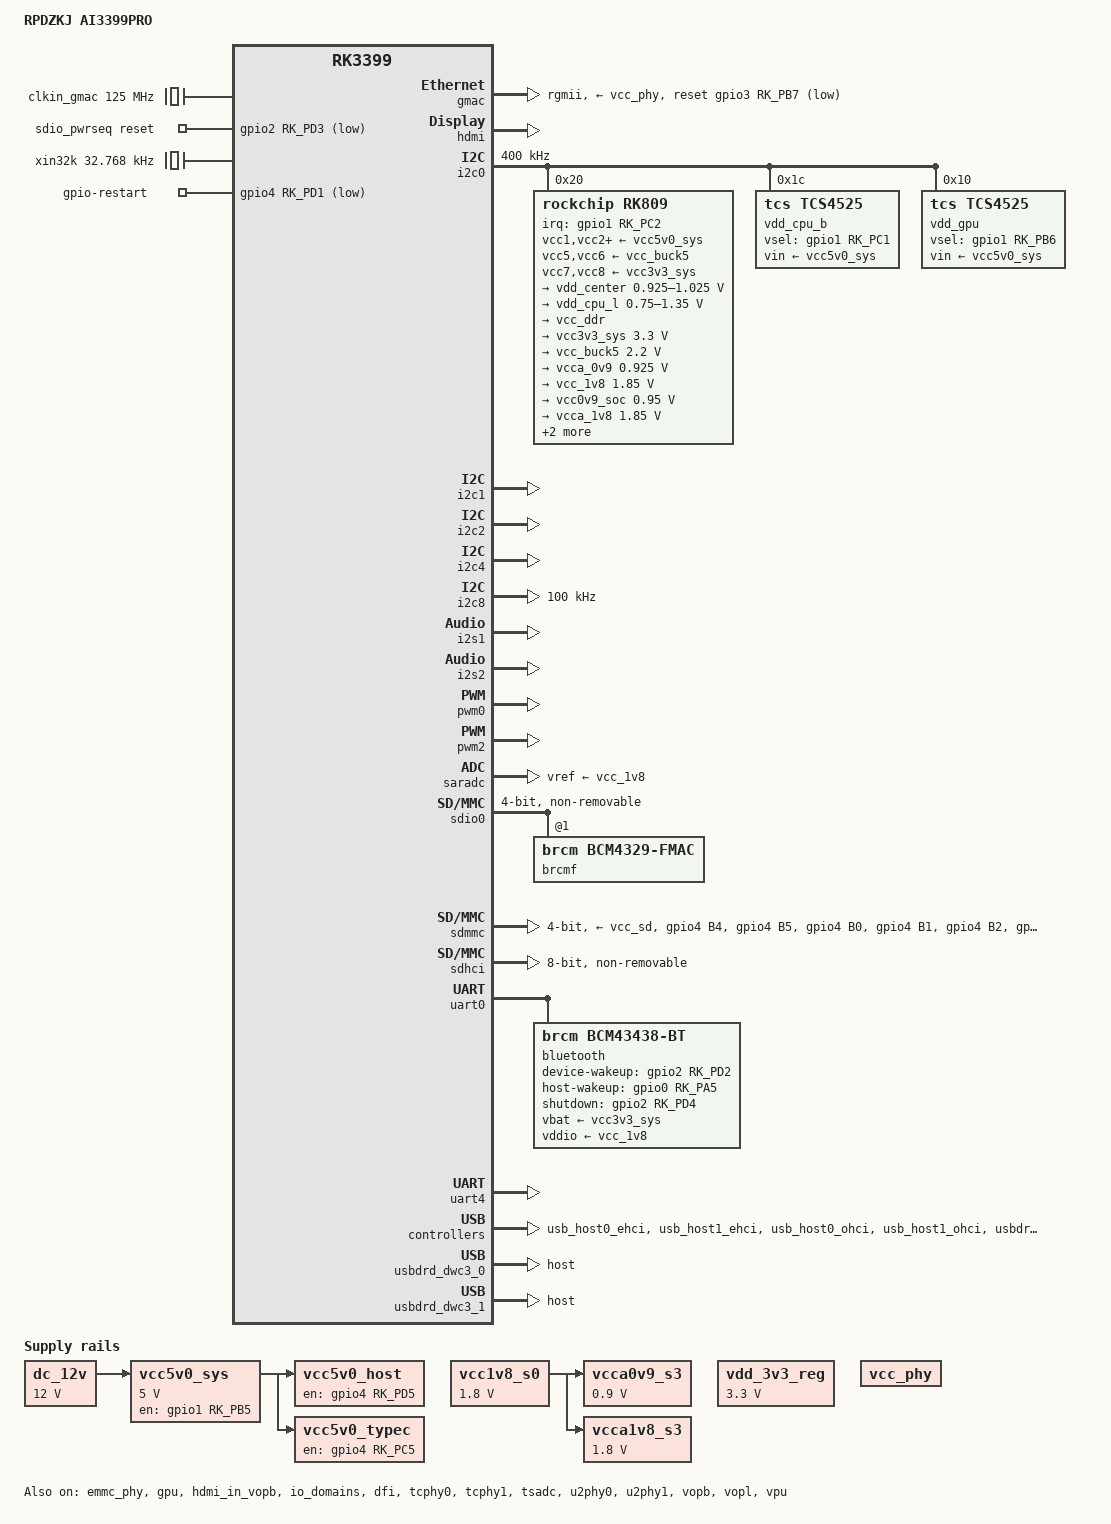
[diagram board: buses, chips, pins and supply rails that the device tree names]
// SPDX-License-Identifier: (GPL-2.0+ OR MIT)
/*
 * Copyright (c) 2019 Fuzhou Rockchip Electronics Co., Ltd
 * Copyright (c) 2019 Radxa Limited
 * Copyright (c) 2019 Amarula Solutions(India)
 * Copyright (c) 2024 ARCW <wmx129674@126.com> rk3399pro-tinker_edge_r
 */

/dts-v1/;
#include <dt-bindings/input/linux-event-codes.h>
#include <dt-bindings/pwm/pwm.h>
#include "rk3399.dtsi"

/ {
	model = "RPDZKJ AI3399PRO";
	compatible = "rpdzkj,ai3399pro", "rockchip,rk3399pro";

	chosen {
    bootargs = "earlycon=uart8250,mmio32,0xff1a0000 swiotlb=1 coherent_pool=1m";
	};

	clkin_gmac: external-gmac-clock {
		compatible = "fixed-clock";
		clock-frequency = <125000000>;
		clock-output-names = "clkin_gmac";
		#clock-cells = <0>;
	};

/*
	gpio-leds {
		compatible = "gpio-leds";

		act-led {
			label = "led-activity";
			gpios = <&gpio0 RK_PA5 GPIO_ACTIVE_HIGH>;
			linux,default-trigger = "activity";
			retain-state-suspended = <1>;
		};

		eth-led {
			label = "led-eth";
			default-state = "off";
			gpios = <&gpio0 RK_PA3 GPIO_ACTIVE_HIGH>;
			linux,default-trigger="netdev";
		};

		oneshot-led {
			label = "led-oneshot";
			gpios = <&gpio0 RK_PB1 GPIO_ACTIVE_HIGH>;
			linux,default-trigger="oneshot";
		};

	};
*/
	sdio_pwrseq: sdio-pwrseq {
		compatible = "mmc-pwrseq-simple";
		clocks = <&rk809 1>;
		clock-names = "ext_clock";
		pinctrl-names = "default";
		pinctrl-0 = <&wifi_enable_h>;

		/*
		 * On the module itself this is one of these (depending
		 * on the actual card populated):
		 * - SDIO_RESET_L_WL_REG_ON
		 * - PDN (power down when low)
		 */
		reset-gpios = <&gpio2 RK_PD3 GPIO_ACTIVE_LOW>;
	};

	display-subsystem{
		status = "okay";
	};
  
  dc_12v: dc-12v {
    compatible = "regulator-fixed";
    regulator-name = "dc_12v";
    regulator-always-on;
    regulator-boot-on;
    regulator-min-microvolt = <12000000>;
    regulator-max-microvolt = <12000000>;
    };

	vcc1v8_s0: vcc1v8-s0 {
		compatible = "regulator-fixed";
		regulator-name = "vcc1v8_s0";
		regulator-min-microvolt = <1800000>;
		regulator-max-microvolt = <1800000>;
		regulator-always-on;
	};

	vdd_3v3_reg: fixedregulator_3v3 {
		compatible = "regulator-fixed";
		regulator-name = "3v3";
		regulator-min-microvolt = <3300000>;
		regulator-max-microvolt = <3300000>;
		regulator-always-on;
	};

	vcc_phy: vcc-phy-regulator {
		compatible = "regulator-fixed";
		regulator-name = "vcc_phy";
		regulator-always-on;
		regulator-boot-on;
	};

	vcc5v0_sys: vccsys {
		compatible = "regulator-fixed";
		regulator-name = "vcc5v0_sys";
		enable-active-high;
		gpio = <&gpio1 RK_PB5 GPIO_ACTIVE_HIGH>;
		pinctrl-names = "default";
		pinctrl-0 = <&vcc5v0_en>;
		regulator-always-on;
		regulator-boot-on;
		regulator-min-microvolt = <5000000>;
		regulator-max-microvolt = <5000000>;
    vin-supply = <&dc_12v>;
	};

	vcc5v0_host: vcc5v0-host {
		compatible = "regulator-fixed";
		enable-active-high;
		gpio = <&gpio4 RK_PD5 GPIO_ACTIVE_HIGH>;
		pinctrl-names = "default";
		pinctrl-0 = <&vcc5v0_host_en>;
		regulator-name = "vcc5v0_host";
		vin-supply = <&vcc5v0_sys>;
	};

	vcc5v0_typec: vcc5v0-typec {
		compatible = "regulator-fixed";
		enable-active-high;
		gpio = <&gpio4 RK_PC5 GPIO_ACTIVE_HIGH>;
		pinctrl-names = "default";
		pinctrl-0 = <&vcc5v0_typec_en>;
		regulator-name = "vcc5v0_typec";
		regulator-always-on;
		vin-supply = <&vcc5v0_sys>;
	};

	vcca0v9_s3: vcca0v9-s3 {
		compatible = "regulator-fixed";
		regulator-min-microvolt = <900000>;
		regulator-max-microvolt = <900000>;
		regulator-name = "vcca0v9_s3";
		vin-supply = <&vcc1v8_s0>;
	};

	/* As above, actually supplied by vcc3v3_sys */
	vcca1v8_s3: vcca1v8-s3 {
		compatible = "regulator-fixed";
		regulator-min-microvolt = <1800000>;
		regulator-max-microvolt = <1800000>;
		regulator-name = "vcca1v8_s3";
		vin-supply = <&vcc1v8_s0>;
	};
  
  xin32k: xin32k {
		compatible = "fixed-clock";
		clock-frequency = <32768>;
		clock-output-names = "xin32k";
		#clock-cells = <0>;
	};
  
  gpio-restart {
		compatible = "gpio-restart";
		gpios = <&gpio4 RK_PD1 GPIO_ACTIVE_LOW>;
		pinctrl-names = "default";
		pinctrl-0 = <&hub_rst>;
		priority = <200>;
		active-delay = <100>;
		inactive-delay = <10>;
		wait-delay = <100>;
	};
};

&cpu_l0 {
	cpu-supply = <&vdd_cpu_l>;
};

&cpu_l1 {
	cpu-supply = <&vdd_cpu_l>;
};

&cpu_l2 {
	cpu-supply = <&vdd_cpu_l>;
};

&cpu_l3 {
	cpu-supply = <&vdd_cpu_l>;
};

&cpu_b0 {
	cpu-supply = <&vdd_cpu_b>;
};

&cpu_b1 {
	cpu-supply = <&vdd_cpu_b>;
};

&emmc_phy {
	status = "okay";
};

&gmac {
	assigned-clocks = <&cru SCLK_RMII_SRC>;
	assigned-clock-parents = <&clkin_gmac>;
	clock_in_out = "input";
	phy-supply = <&vcc_phy>;
	phy-mode = "rgmii";
	snps,reset-gpio = <&gpio3 RK_PB7 GPIO_ACTIVE_LOW>;
	snps,reset-active-low;
	snps,reset-delays-us = <0 10000 50000>;
	pinctrl-names = "default";
	pinctrl-0 = <&rgmii_pins>;
	tx_delay = <0x28>;
	rx_delay = <0x11>;
  status = "okay";
};

&gpu {
	mali-supply = <&vdd_gpu>;
	status = "okay";
};

&hdmi {
	/* remove the hdmi_i2c_xfer */
	status = "okay";
	ddc-i2c-bus = <&i2c3>;
	pinctrl-0 = <&hdmi_cec>;
	#sound-dai-cells = <0>;
};

&hdmi_in_vopb {
	status = "okay";
};

&hdmi_in_vopl {
	status = "disabled";
};

&hdmi_sound {
        status = "disabled";
};

&i2c0 {
	status = "okay";
  i2c-scl-rising-time-ns = <180>;
	i2c-scl-falling-time-ns = <30>;
	clock-frequency = <400000>;

	rk809: pmic@20 {
		compatible = "rockchip,rk809";
		reg = <0x20>;
		interrupt-parent = <&gpio1>;
		interrupts = <RK_PC2 IRQ_TYPE_LEVEL_LOW>;
		pinctrl-names = "default", "pmic-sleep",
				"pmic-power-off", "pmic-reset";
		pinctrl-0 = <&pmic_int_l>;
		pinctrl-1 = <&soc_slppin_slp>, <&rk809_slppin_slp>;
		pinctrl-2 = <&soc_slppin_pins>, <&rk809_slppin_pwrdn>;
		pinctrl-3 = <&soc_slppin_pins>, <&rk809_slppin_null>;
		system-power-controller;
		pmic-reset-func = <0>;
		wakeup-source;
		#clock-cells = <1>;
		clock-output-names = "rk808-clkout1", "rk808-clkout2";

		vcc1-supply = <&vcc5v0_sys>;
		vcc2-supply = <&vcc5v0_sys>;
		vcc3-supply = <&vcc5v0_sys>;
		vcc4-supply = <&vcc5v0_sys>;
		vcc5-supply = <&vcc_buck5>;
		vcc6-supply = <&vcc_buck5>;
		vcc7-supply = <&vcc3v3_sys>;
		vcc8-supply = <&vcc3v3_sys>;
		vcc9-supply = <&vcc5v0_sys>;
    
    pinctrl_rk8xx: pinctrl_rk8xx {
			gpio-controller;
			#gpio-cells = <2>;

			rk809_slppin_null: rk809_slppin_null {
				pins = "gpio_slp";
				function = "pin_fun0";
			};

			rk809_slppin_slp: rk809_slppin_slp {
				pins = "gpio_slp";
				function = "pin_fun1";
			};

			rk809_slppin_pwrdn: rk809_slppin_pwrdn {
				pins = "gpio_slp";
				function = "pin_fun2";
			};

			rk809_slppin_rst: rk809_slppin_rst {
				pins = "gpio_slp";
				function = "pin_fun3";
			};
		};

		regulators {
			vdd_center: DCDC_REG1 {
				regulator-name = "vdd_center";
				regulator-always-on;
				regulator-boot-on;
				regulator-min-microvolt = <925000>;
				regulator-max-microvolt = <1025000>;
				regulator-initial-mode = <0x2>;
				regulator-state-mem {
					regulator-off-in-suspend;
					regulator-suspend-microvolt = <925000>;
				};
			};

			vdd_cpu_l: DCDC_REG2 {
				regulator-name = "vdd_cpu_l";
				regulator-always-on;
				regulator-boot-on;
				regulator-min-microvolt = <750000>;
				regulator-max-microvolt = <1350000>;
				regulator-ramp-delay = <6001>;
				regulator-initial-mode = <0x2>;
				regulator-state-mem {
					regulator-off-in-suspend;
				};
			};

			vcc_ddr: DCDC_REG3 {
				regulator-name = "vcc_ddr";
				regulator-always-on;
				regulator-boot-on;
				regulator-initial-mode = <0x2>;
				regulator-state-mem {
					regulator-on-in-suspend;
				};
			};

			vcc3v3_sys: DCDC_REG4 {
				regulator-always-on;
				regulator-boot-on;
				regulator-min-microvolt = <3300000>;
				regulator-max-microvolt = <3300000>;
				regulator-initial-mode = <0x2>;
				regulator-name = "vcc3v3_sys";
				regulator-state-mem {
					regulator-on-in-suspend;
					regulator-suspend-microvolt = <3300000>;
				};
			};

			vcc_buck5: DCDC_REG5 {
				regulator-always-on;
				regulator-boot-on;
				regulator-min-microvolt = <2200000>;
				regulator-max-microvolt = <2200000>;
				regulator-name = "vcc_buck5";
				regulator-state-mem {
					regulator-on-in-suspend;
					regulator-suspend-microvolt = <2200000>;
				};
			};

			vcca_0v9: LDO_REG1 {
				regulator-always-on;
				regulator-boot-on;
				regulator-min-microvolt = <925000>;
				regulator-max-microvolt = <925000>;
				regulator-name = "vcca_0v9";
				regulator-state-mem {
					regulator-off-in-suspend;
				};
			};

			vcc_1v8: LDO_REG2 {
				regulator-always-on;
				regulator-boot-on;
				regulator-min-microvolt = <1850000>;
				regulator-max-microvolt = <1850000>;

				regulator-name = "vcc_1v8";
				regulator-state-mem {
					regulator-on-in-suspend;
					regulator-suspend-microvolt = <1850000>;
				};
			};

			vcc0v9_soc: LDO_REG3 {
				regulator-always-on;
				regulator-boot-on;
				regulator-min-microvolt = <950000>;
				regulator-max-microvolt = <950000>;

				regulator-name = "vcc0v9_soc";
				regulator-state-mem {
					regulator-on-in-suspend;
					regulator-suspend-microvolt = <950000>;
				};
			};

			vcca_1v8: LDO_REG4 {
				regulator-always-on;
				regulator-boot-on;
				regulator-min-microvolt = <1850000>;
				regulator-max-microvolt = <1850000>;

				regulator-name = "vcca_1v8";
				regulator-state-mem {
					regulator-off-in-suspend;
				};
			};

			vdd1v5_dvp: LDO_REG5 {
				regulator-always-on;
				regulator-boot-on;
				regulator-min-microvolt = <1850000>;
				regulator-max-microvolt = <1850000>;

				regulator-name = "vdd1v5_dvp";
				regulator-state-mem {
					regulator-off-in-suspend;
				};
			};

			vcc_1v5: LDO_REG6 {
				regulator-always-on;
				regulator-boot-on;
				regulator-min-microvolt = <1550000>;
				regulator-max-microvolt = <1550000>;

				regulator-name = "vcc_1v5";
				regulator-state-mem {
					regulator-off-in-suspend;
				};
			};

			vcc_3v0: LDO_REG7 {
				regulator-name = "vcc_3v0";
				regulator-always-on;
				regulator-boot-on;
				regulator-min-microvolt = <3075000>;
				regulator-max-microvolt = <3075000>;

				regulator-state-mem {
					regulator-off-in-suspend;
				};
			};

			vccio_sd: LDO_REG8 {
				regulator-always-on;
				regulator-boot-on;
				regulator-min-microvolt = <1850000>;
				regulator-max-microvolt = <3375000>;

				regulator-name = "vccio_sd";
				regulator-state-mem {
					regulator-off-in-suspend;
				};
			};

			vcc_sd: LDO_REG9 {
				regulator-always-on;
				regulator-boot-on;
				regulator-min-microvolt = <3375000>;
				regulator-max-microvolt = <3375000>;

				regulator-name = "vcc_sd";
				regulator-state-mem {
					regulator-off-in-suspend;
				};
			};

			vcc5v0_usb: SWITCH_REG1 {
				regulator-min-microvolt = <5000000>;
				regulator-max-microvolt = <5000000>;

				regulator-name = "vcc5v0_usb";
				regulator-state-mem {
					regulator-on-in-suspend;
					regulator-suspend-microvolt = <5000000>;
				};
			};

			vccio_3v3: SWITCH_REG2 {
				regulator-always-on;
				regulator-boot-on;
				regulator-min-microvolt = <3300000>;
				regulator-max-microvolt = <3300000>;

				regulator-name = "vccio_3v3";
				regulator-state-mem {
					regulator-off-in-suspend;
				};
			};
		};
	};

	vdd_cpu_b: tcs4525@1c {
		compatible = "tcs,tcs4525";
		reg = <0x1c>;
		pinctrl-names = "default";
		pinctrl-0 = <&vsel1_pins>;
		regulator-name = "vdd_cpu_b";
		regulator-always-on;
		regulator-boot-on;
		regulator-min-microvolt = <712500>;
		regulator-max-microvolt = <1500000>;
		regulator-ramp-delay = <1000>;
		vin-supply = <&vcc5v0_sys>;
		vsel-gpios = <&gpio1 RK_PC1 GPIO_ACTIVE_HIGH>;
		fcs,suspend-voltage-selector = <1>;
    
		regulator-state-mem {
			regulator-off-in-suspend;
		};
	};
  
  vdd_gpu: tcs4525@10 {
		compatible = "tcs,tcs4525";
		reg = <0x10>;
		pinctrl-names = "default";
		pinctrl-0 = <&vsel2_pins>;
		regulator-name = "vdd_gpu";
		regulator-always-on;
		regulator-boot-on;
		regulator-min-microvolt = <712500>;
		regulator-max-microvolt = <1500000>;
		regulator-ramp-delay = <1000>;
		vin-supply = <&vcc5v0_sys>;
		vsel-gpios = <&gpio1 RK_PB6 GPIO_ACTIVE_HIGH>;
		fcs,suspend-voltage-selector = <1>;
		
		regulator-state-mem {
			regulator-off-in-suspend;
		};
	};
};

&i2c1 {
	status = "okay";
	i2c-scl-rising-time-ns = <140>;
	i2c-scl-falling-time-ns = <30>;
};

&i2c2 {
	status = "okay";
	i2c-scl-rising-time-ns = <140>;
	i2c-scl-falling-time-ns = <30>;
};

&i2c4 {
	i2c-scl-rising-time-ns = <345>;
	i2c-scl-falling-time-ns = <11>;
	status = "okay";
};

&i2c8 {
	status = "okay";
	i2c-scl-rising-time-ns = <345>;
	i2c-scl-falling-time-ns = <11>;
	clock-frequency = <100000>;

	fusb0: fusb30x@22 {
		compatible = "fairchild,fusb302";
		reg = <0x22>;
		pinctrl-names = "default";
		pinctrl-0 = <&fusb0_int>;
		int-n-gpios = <&gpio1 RK_PA2 GPIO_ACTIVE_HIGH>;
		vbus-5v-gpios = <&gpio0 RK_PA1 GPIO_ACTIVE_LOW>;
		vbus2-5v-gpios = <&gpio0 RK_PB0 GPIO_ACTIVE_HIGH>;
		status = "disabled";
	};
};

&i2s1 {
	status = "okay";
};

&i2s2 {
	status = "okay";
};

&io_domains {
	status = "okay";
	bt656-supply = <&vdd1v5_dvp>;
	audio-supply = <&vcca_1v8>;
	sdmmc-supply = <&vccio_sd>;
	gpio1830-supply = <&vcc_3v0>;
};

&isp0_mmu {
	status = "okay";
};

&isp1_mmu {
	status = "okay";
};

&dfi {
	status = "okay";
};

&pcie_phy {
	status = "disabled";
};

&pcie0 {
	ep-gpios = <&gpio0 RK_PB4 GPIO_ACTIVE_HIGH>;
	max-link-speed = <2>;
	num-lanes = <2>;
	pinctrl-0 = <&pcie_clkreqn_cpm>;
	pinctrl-names = "default";
	status = "disabled";
};

&pmu_io_domains {
	status = "okay";
	pmu1830-supply = <&vcc_1v8>;
};

&pwm0 {
	status = "okay";
};

&pwm2 {
	status = "okay";
};

&saradc {
	status = "okay";
	vref-supply = <&vcc_1v8>;
};

&sdio0 {
	/* WiFi & BT combo module Ampak AP6356S */
	bus-width = <4>;
	cap-sdio-irq;
	cap-sd-highspeed;
	clock-frequency = <150000000>;
	disable-wp;
	max-frequency = <150000000>;
	keep-power-in-suspend;
	mmc-pwrseq = <&sdio_pwrseq>;
	non-removable;
	pinctrl-names = "default";
	pinctrl-0 = <&sdio0_bus4 &sdio0_cmd &sdio0_clk>;
	sd-uhs-sdr104;  
	#address-cells = <1>;
	#size-cells = <0>;
	status = "okay";

	brcmf: wifi@1 {
		reg = <1>;
		compatible = "brcm,bcm4329-fmac";
		brcm,drive-strength = <5>;
		pinctrl-names = "default";
		pinctrl-0 = <&wifi_host_wake_l>;
	};
};

&sdmmc {
	clock-frequency = <150000000>;
	bus-width = <4>;
	cap-mmc-highspeed;
	cap-sd-highspeed;
	disable-wp;
	vmmc-supply = <&vcc_sd>;
	vqmmc-supply = <&vccio_sd>;
	pinctrl-names = "default";
	pinctrl-0 = <&sdmmc_clk &sdmmc_cmd &sdmmc_cd &sdmmc_bus4>;
	status = "okay";
};

&sdhci {
	bus-width = <8>;
	mmc-hs400-1_8v;
	non-removable;
	keep-power-in-suspend;
	mmc-hs400-enhanced-strobe;
	status = "okay";
};

&spi1 {
	status = "disabled";
};

&spi2 {
	status = "disabled";
};

&tcphy0 {
	/*
	extcon = <&fusb0>;
	*/
	status = "okay";
};

&tcphy1 {
	status = "okay";
};


&tsadc {
	rockchip,hw-tshut-mode = <1>;
	rockchip,hw-tshut-polarity = <1>;
	status = "okay";
};

&u2phy0 {
	status = "okay";
	/*
	extcon = <&fusb0>;
	*/

	u2phy0_otg: otg-port {
		status = "okay";
	};

	u2phy0_host: host-port {
		phy-supply = <&vcc5v0_host>;
		status = "okay";
	};
};

&u2phy1 {
	status = "okay";

	u2phy1_otg: otg-port {
		status = "okay";
	};

	u2phy1_host: host-port {
		phy-supply = <&vcc5v0_host>;
		status = "okay";
	};
};

&uart0 {
	pinctrl-names = "default";
	pinctrl-0 = <&uart0_xfer &uart0_cts &uart0_rts>;
	status = "okay";

	bluetooth {
		compatible = "brcm,bcm43438-bt";
		clocks = <&rk809 1>;
		clock-names = "lpo";
		device-wakeup-gpios = <&gpio2 RK_PD2 GPIO_ACTIVE_HIGH>;
		host-wakeup-gpios = <&gpio0 RK_PA5 GPIO_ACTIVE_HIGH>;
		shutdown-gpios = <&gpio2 RK_PD4 GPIO_ACTIVE_HIGH>;
		max-speed = <4000000>;
		pinctrl-names = "default";
		pinctrl-0 = <&bt_host_wake_l &bt_wake_l &bt_enable_h>;
		vbat-supply = <&vcc3v3_sys>;
		vddio-supply = <&vcc_1v8>;
	};
};

&uart4 {
       status = "okay";
};

&usb_host0_ehci {
	status = "okay";
};

&usb_host1_ehci {
	status = "okay";
};
&usb_host0_ohci {
	status = "okay";
};

&usb_host1_ohci {
	status = "okay";
};

&usbdrd3_0 {
	/*
  extcon = <&fusb0>;
  */
	status = "okay";
};

&usbdrd3_1 {
	status = "okay";
};

&usbdrd_dwc3_0 {
	dr_mode = "host";
	status = "okay";
};

&usbdrd_dwc3_1 {
	status = "okay";
	dr_mode = "host";
};

&vopb {
	status = "okay";
};

&vopb_mmu {
	status = "okay";
};

&vopl {
	status = "okay";
};

&vopl_mmu {
	status = "okay";
};

&vpu {
	status = "okay";
	/* 0 means ion, 1 means drm */
	//allocator = <0>;
};

&pinctrl {
	pinctrl-names = "default";
	pinctrl-0 = <&npu_ref_clk>;

	bq2570 {
		charger_ok_int: charger-ok-int {
			rockchip,pins = <1 RK_PA1 0 &pcfg_pull_up>;
		};
	};

	fusb30x {
		fusb0_int: fusb0-int {
			rockchip,pins = <1 RK_PA2 0 &pcfg_pull_up>;
		};
	};

	headphone {
		hp_det: hp-det {
			rockchip,pins = <0 RK_PB5 0 &pcfg_pull_up>;
		};
	};

	npu_clk {
		npu_ref_clk: npu-ref-clk {
			rockchip,pins =
			<0 RK_PA2 1 &pcfg_pull_none>;
		};
	};

	i2s0 {
		i2s_8ch_mclk: i2s-8ch-mclk {
			rockchip,pins =
			<4 RK_PA0 1 &pcfg_pull_none>;
		};
	};

	pmic {
		pmic_int_l: pmic-int-l {
			rockchip,pins =
				<1 RK_PC2 0 &pcfg_pull_up>;
		};
		vsel1_pins: vsel1-pins {
			rockchip,pins =
				<1 RK_PC1 0 &pcfg_pull_down>;
		};
		vsel2_pins: vsel2-pins {
			rockchip,pins =
				<1 RK_PB6 0 &pcfg_pull_down>;
		};

		soc_slppin_pins: soc-slppin-pins {
			rockchip,pins =
				<1 RK_PA5 0 &pcfg_output_low>;
		};

		soc_slppin_slp: soc-slppin-slp {
			rockchip,pins =
				<1 RK_PA5 1 &pcfg_pull_down>;
		};

		soc_slppin_rst: soc-slppin-rst {
			rockchip,pins =
				<1 RK_PA5 2 &pcfg_pull_none>;
		};
	};

	sdio-pwrseq {
		wifi_enable_h: wifi-enable-h {
			rockchip,pins =
				<2 RK_PD3 0 &pcfg_pull_none>;
		};
	};

	wifi {
		wifi_host_wake_l: wifi-host-wake-l {
			rockchip,pins =
				<0 RK_PA3 0 &pcfg_pull_none>;
		};
	};

	bt {
		bt_enable_h: bt-enable-h {
			rockchip,pins =
				<0 RK_PD4 0 &pcfg_pull_none>;
		};

		bt_host_wake_l: bt-host-wake-l {
			rockchip,pins =
				<0 RK_PA5 0 &pcfg_pull_down>;
		};

		bt_wake_l: bt-wake-l {
			rockchip,pins =
				<2 RK_PD2 0 &pcfg_pull_none>;
		};
	};

	sdmmc {
		sdmmc_bus1: sdmmc-bus1 {
			rockchip,pins =
				<4 RK_PB0 1 &pcfg_pull_up>;
		};

		sdmmc_bus4: sdmmc-bus4 {
			rockchip,pins =
				<4 RK_PB0 1 &pcfg_pull_up>,
				<4 RK_PB1 1 &pcfg_pull_up>,
				<4 RK_PB2 1 &pcfg_pull_up>,
				<4 RK_PB3 1 &pcfg_pull_up>;
		};

		sdmmc_clk: sdmmc-clk {
			rockchip,pins =
				<4 RK_PB4 1 &pcfg_pull_none>;
		};

		sdmmc_cmd: sdmmc-cmd {
			rockchip,pins =
				<4 RK_PB5 1 &pcfg_pull_up>;
		};
	};

	usb {
		vcc5v0_en: vcc5v0-en {
			rockchip,pins =
				<1 RK_PB5 RK_FUNC_GPIO &pcfg_pull_none>;
		};

		vcc5v0_host_en: vcc5v0-host-en {
			rockchip,pins =
				<4 RK_PD5 RK_FUNC_GPIO &pcfg_pull_none>;
		};

		hub_rst: hub-rst {
			rockchip,pins =
				<4 RK_PD1 RK_FUNC_GPIO &pcfg_pull_none>;
		};

		vcc5v0_typec_en: vcc5v0-typec-en {
			rockchip,pins =
				<4 RK_PC5 RK_FUNC_GPIO &pcfg_pull_none>;
		};
	};
};
